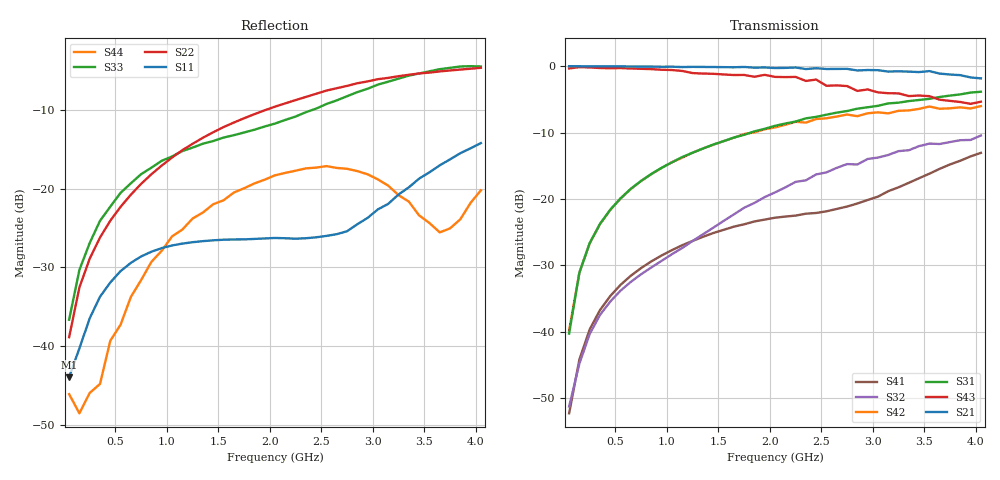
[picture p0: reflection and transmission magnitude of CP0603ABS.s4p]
! Network Analyzer HP8720D.07.14 Serial No. US38111185
! 28 Apr 1999  02:06:29
! Frequency 	S11		S21		S31		S41		S12		S22		S23		S24		S13		S23		S33		S34		S14		S24		S34		S44
# HZ  S  DB R 50
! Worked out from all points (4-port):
!   41 points, 50 MHz to 4.05 GHz, reference 50 ohm
!   strongest paths, dB at 50 MHz, 1.05 GHz, 2.05 GHz, 3.05 GHz, 4.05 GHz:
!     S21: 0.0, -0.1, -0.3, -0.6, -1.9
!     S43: -0.4, -0.6, -1.6, -4.0, -5.4
!     S31: -40.2, -14.5, -9.0, -6.0, -3.9
!     S42: -39.8, -14.5, -9.2, -7.0, -6.0
!     S32: -51.2, -28.3, -19.0, -13.8, -10.4
!     S41: -52.2, -27.7, -22.8, -19.6, -13.1
!   lowest |S11| = -43.9 dB at 50 MHz (marker M1), VSWR 1.01, Z = 50.6 - j0.257 ohm
!   |S11| at or under -10 dB: start of sweep to end of sweep
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5e7  -43.93 -23.6  -0.01 -1.1  -41.46 90.6  -52.89 115.5
     -0.02 -0.7  -38.86 41.2  -51.21 84.4  -40.47 85.8
     -40.25 86.7  -51.23 88.0  -36.63 43.5  -0.06 -2.0
     -52.25 97.0  -39.79 80.3  -0.36 -1.7  -46.09 -17.5
1.5e8  -40.27 -64.9  -0.03 -2.4  -31.01 85.8  -44.19 88.0
       -0.03 -2.4  -32.53 55.9  -44.90 88.9  -31.02 85.7
       -31.08 85.5  -44.76 87.7  -30.31 65.5  -0.07 -5.1
       -44.15 87.9  -31.05 85.6  -0.16 -5.0  -48.53 -14.9
2.5e8  -36.46 -80.7  -0.02 -4.0  -26.62 83.1  -39.63 85.8
       -0.04 -4.0  -28.88 59.3  -40.24 86.7  -26.68 82.7
       -26.63 83.2  -40.32 86.8  -26.89 66.4  -0.10 -8.4
       -39.62 85.6  -26.67 82.3  -0.21 -8.3  -45.95 -77.3
9.5e8  -27.53 -129.4  -0.10 -14.9  -15.25 66.3  -28.43 74.9
       -0.11 -15.0  -17.04 36.0  -29.34 86.7  -15.39 64.0
       -15.29 66.3  -29.30 86.5  -16.44 43.8  -0.44 -30.9
       -28.49 74.9  -15.33 63.8  -0.56 -30.8  -27.87 -179.9
2.35e9  -26.28 149.0  -0.39 -36.5  -7.89 30.8  -21.98 58.4
        -0.45 -37.4  -8.32 -29.8  -17.30 77.3  -8.77 30.1
        -7.87 35.1  -17.19 71.5  -10.26 -51.1  -2.02 -75.9
        -22.21 62.6  -8.51 23.9  -2.24 -77.2  -17.40 154.4
3.65e9  -17.02 42.1  -1.34 -59.3  -5.69 -4.7  -15.74 55.5
        -1.14 -57.3  -5.08 -85.9  -10.83 44.9  -6.04 3.5
        -4.66 6.9  -11.73 36.7  -4.80 -117.0  -4.25 -124.2
        -15.46 68.7  -6.43 -7.4  -5.06 -118.6  -25.54 60.6
4.05e9  -14.19 26.5  -1.88 -71.3  -5.56 -17.4  -14.06 40.6
        -1.86 -63.8  -4.62 -107.7  -9.36 31.1  -5.18 -8.0
        -3.87 -3.1  -10.45 26.9  -4.45 -135.1  -5.22 -148.2
        -13.06 58.7  -6.03 -14.6  -5.37 -134.5  -20.19 -12.9
